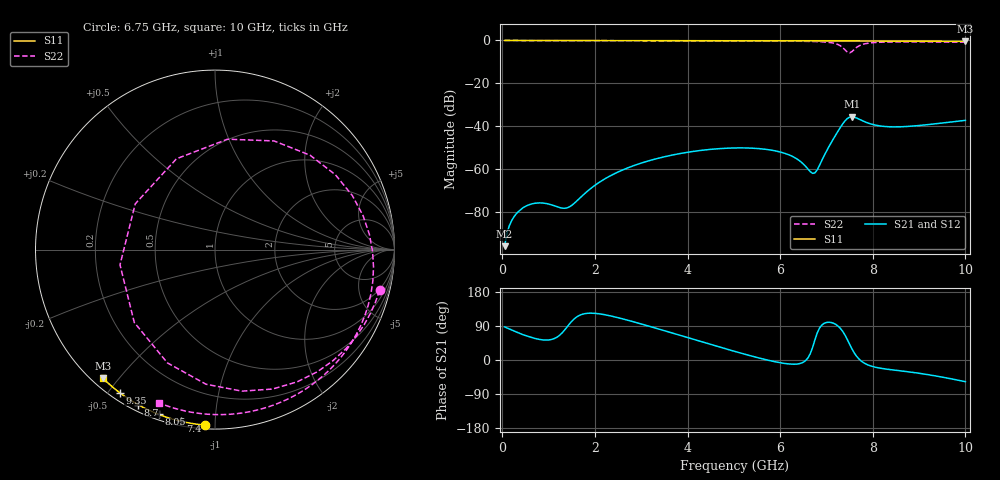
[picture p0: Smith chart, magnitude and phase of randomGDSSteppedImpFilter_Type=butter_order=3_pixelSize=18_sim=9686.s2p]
! freq	dB(S11)	phase(S11)	dB(S12)	phase(S12)
!  dB(S21)	phase(S21)	dB(S22)	phase(S22)
!S-par simulation data
#  GHz  S  DB  R 50
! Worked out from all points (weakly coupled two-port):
!   200 points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, 50 MHz to 10 GHz, reference 50 ohm
!   highest |S21| = -35.54 dB at 7.55 GHz (marker M1); lowest = -95.8 dB at 50 MHz (marker M2)
!   lowest |S11| = -0.4 dB at 10 GHz (marker M3), VSWR 39.23, Z = 1.54 - j22.7 ohm
!   |S11| at or under -10 dB: nowhere
!   |S22| runs from -5.8 to 0.0 dB; largest |S21 - S12| = 0
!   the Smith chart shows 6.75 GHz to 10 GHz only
!   S11 on the Smith chart (normalised r, x): 6.75 GHz: 0.02, -0.94; 7.4 GHz: 0.02, -0.82; 8.05 GHz: 0.02, -0.71; 8.7 GHz: 0.03, -0.62; 9.35 GHz: 0.03, -0.53; 10 GHz: 0.03, -0.45
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0.05  -0.00 -0.8  -95.81 87.3  -95.81 87.3  -0.00 -4.7
0.85  -0.02 -12.8  -75.69 53.4  -75.69 53.4  -0.09 -74.5
1.4  -0.03 -21.0  -77.96 87.4  -77.96 87.4  -0.11 -113.1
1.75  -0.03 -26.1  -71.89 121.4  -71.89 121.4  -0.12 -133.8
2.55  -0.05 -37.7  -60.78 110.1  -60.78 110.1  -0.14 -173.8
3.4  -0.07 -49.7  -54.69 81.0  -54.69 81.0  -0.16 149.3
4.25  -0.09 -61.4  -51.31 50.2  -51.31 50.2  -0.19 113.5
5.05  -0.11 -72.0  -50.05 21.6  -50.05 21.6  -0.23 78.4
6.1  -0.15 -85.4  -52.58 -9.2  -52.58 -9.2  -0.31 26.8
6.7  -0.18 -92.8  -61.92 32.9  -61.92 32.9  -0.46 -10.1
6.75  -0.18 -93.4  -61.69 52.9  -61.69 52.9  -0.49 -13.9
7.2  -0.21 -98.8  -44.01 94.0  -44.01 94.0  -1.51 -67.6
7.3  -0.21 -100.0  -40.51 83.5  -40.51 83.5  -2.48 -93.9
7.4  -0.22 -101.2  -37.47 65.8  -37.47 65.8  -4.35 -137.9
7.45  -0.22 -101.8  -36.37 54.2  -36.37 54.2  -5.42 -170.9
7.55  -0.23 -103.0  -35.54 29.5  -35.54 29.5  -5.20 113.0
7.75  -0.24 -105.3  -37.15 -2.6  -37.15 -2.6  -2.05 31.9
8.05  -0.26 -108.9  -39.40 -18.9  -39.40 -18.9  -0.95 -11.3
8.35  -0.29 -112.3  -40.20 -25.0  -40.20 -25.0  -0.72 -34.4
8.7  -0.31 -116.4  -40.12 -30.1  -40.12 -30.1  -0.66 -54.3
9.35  -0.37 -123.7  -38.82 -41.9  -38.82 -41.9  -0.71 -84.1
10  -0.44 -131.1  -37.22 -57.2  -37.22 -57.2  -0.83 -110.1
